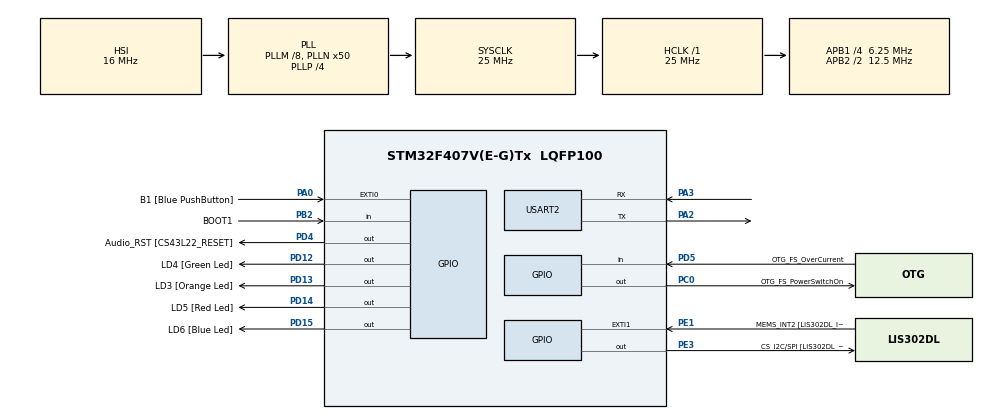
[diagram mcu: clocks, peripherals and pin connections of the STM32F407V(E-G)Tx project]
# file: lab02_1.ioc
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Mcu.Family=STM32F4
Mcu.Name=STM32F407V(E-G)Tx
Mcu.Package=LQFP100
NVIC.PriorityGroup=NVIC_PRIORITYGROUP_4
NVIC.TIM7_IRQn=true\:0\:0\:false\:false\:true\:false\:true
NVIC.TimeBase=TIM7_IRQn
NVIC.TimeBaseIP=TIM7
PA0-WKUP.GPIO_Label=B1 [Blue PushButton]
PA0-WKUP.Signal=GPXTI0
PA10.GPIO_Label=OTG_FS_ID
PA10.GPIO_Mode=GPIO_MODE_AF_PP
PA10.GPIO_PuPd=GPIO_NOPULL
PA10.GPIO_Speed=GPIO_SPEED_FREQ_LOW
PA10.Signal=USB_OTG_FS_ID
PA11.GPIO_Label=OTG_FS_DM
PA11.GPIO_Mode=GPIO_MODE_AF_PP
PA11.GPIO_PuPd=GPIO_NOPULL
PA11.GPIO_Speed=GPIO_SPEED_FREQ_LOW
PA11.Signal=USB_OTG_FS_DM
PA12.GPIO_Label=OTG_FS_DP
PA12.GPIO_Mode=GPIO_MODE_AF_PP
PA12.GPIO_PuPd=GPIO_NOPULL
PA12.GPIO_Speed=GPIO_SPEED_FREQ_LOW
PA12.Signal=USB_OTG_FS_DP
PA13.GPIO_Label=SWDIO
PA13.Mode=Serial_Wire
PA13.Signal=SYS_JTMS-SWDIO
PA14.GPIO_Label=SWCLK
PA14.Mode=Serial_Wire
PA14.Signal=SYS_JTCK-SWCLK
PA2.Mode=Asynchronous
PA2.Signal=USART2_TX
PA3.Mode=Asynchronous
PA3.Signal=USART2_RX
PA4.GPIO_Label=I2S3_WS [CS43L22_LRCK]
PA4.GPIO_Mode=GPIO_MODE_AF_PP
PA4.GPIO_PuPd=GPIO_NOPULL
PA4.GPIO_Speed=GPIO_SPEED_FREQ_LOW
PA4.Signal=I2S3_WS
PA5.GPIO_Label=SPI1_SCK [LIS302DL_SCL/SPC]
PA5.GPIO_Mode=GPIO_MODE_AF_PP
PA5.GPIO_PuPd=GPIO_NOPULL
PA5.GPIO_Speed=GPIO_SPEED_FREQ_LOW
PA5.Signal=SPI1_SCK
PA6.GPIO_Label=SPI1_MISO [LIS302DL_SDO]
PA6.GPIO_Mode=GPIO_MODE_AF_PP
PA6.GPIO_PuPd=GPIO_NOPULL
PA6.GPIO_Speed=GPIO_SPEED_FREQ_LOW
PA6.Signal=SPI1_MISO
PA7.GPIO_Label=SPI1_MOSI [LIS302DL_SDA/SDI/SDO]
PA7.GPIO_Mode=GPIO_MODE_AF_PP
PA7.GPIO_PuPd=GPIO_NOPULL
PA7.GPIO_Speed=GPIO_SPEED_FREQ_LOW
PA7.Signal=SPI1_MOSI
PA9.GPIO_Label=VBUS_FS
PA9.GPIO_Mode=GPIO_MODE_INPUT
PA9.GPIO_PuPd=GPIO_NOPULL
PA9.Signal=USB_OTG_FS_VBUS
PB10.GPIO_Label=CLK_IN [MP45DT02_CLK]
PB10.GPIO_Mode=GPIO_MODE_AF_PP
PB10.GPIO_PuPd=GPIO_NOPULL
PB10.GPIO_Speed=GPIO_SPEED_FREQ_LOW
PB10.Signal=I2S2_CK
PB2.GPIO_Label=BOOT1
PB2.GPIO_Mode=GPIO_MODE_INPUT
PB2.GPIO_PuPd=GPIO_NOPULL
PB2.Signal=GPIO_Input
PB3.GPIO_Label=SWO
PB3.Signal=SYS_JTDO-SWO
PB6.GPIO_Label=Audio_SCL [CS43L22_SCL]
PB6.GPIO_Mode=GPIO_MODE_AF_OD
PB6.GPIO_PuPd=GPIO_NOPULL
PB6.GPIO_Speed=GPIO_SPEED_FREQ_LOW
PB6.Signal=I2C1_SCL
PB9.GPIO_Label=Audio_SDA [CS43L22_SDA]
PB9.GPIO_Mode=GPIO_MODE_AF_OD
PB9.GPIO_PuPd=GPIO_NOPULL
PB9.GPIO_Speed=GPIO_SPEED_FREQ_LOW
PB9.Signal=I2C1_SDA
PC0.GPIO_Label=OTG_FS_PowerSwitchOn
PC0.GPIO_PuPd=GPIO_NOPULL
PC0.GPIO_Speed=GPIO_SPEED_FREQ_LOW
PC0.PinState=GPIO_PIN_SET
PC0.Signal=GPIO_Output
PC10.GPIO_Label=I2S3_SCK [CS43L22_SCLK]
PC10.GPIO_Mode=GPIO_MODE_AF_PP
PC10.GPIO_PuPd=GPIO_NOPULL
PC10.GPIO_Speed=GPIO_SPEED_FREQ_LOW
PC10.Signal=I2S3_CK
PC12.GPIO_Label=I2S3_SD [CS43L22_SDIN]
PC12.GPIO_Mode=GPIO_MODE_AF_PP
PC12.GPIO_PuPd=GPIO_NOPULL
PC12.GPIO_Speed=GPIO_SPEED_FREQ_LOW
PC12.Signal=I2S3_SD
PC14-OSC32_IN.GPIO_Label=PC14-OSC32_IN
PC14-OSC32_IN.Signal=RCC_OSC32_IN
PC15-OSC32_OUT.GPIO_Label=PC15-OSC32_OUT
PC15-OSC32_OUT.Signal=RCC_OSC32_OUT
PC3.GPIO_Label=PDM_OUT [MP45DT02_DOUT]
PC3.GPIO_Mode=GPIO_MODE_AF_PP
PC3.GPIO_PuPd=GPIO_NOPULL
PC3.GPIO_Speed=GPIO_SPEED_FREQ_LOW
PC3.Signal=I2S2_SD
PC7.GPIO_Label=I2S3_MCK [CS43L22_MCLK]
PC7.GPIO_Mode=GPIO_MODE_AF_PP
PC7.GPIO_PuPd=GPIO_NOPULL
PC7.GPIO_Speed=GPIO_SPEED_FREQ_LOW
PC7.Signal=I2S3_MCK
PD12.GPIO_Label=LD4 [Green Led]
PD12.GPIO_PuPd=GPIO_NOPULL
PD12.GPIO_Speed=GPIO_SPEED_FREQ_LOW
PD12.Signal=GPIO_Output
PD13.GPIO_Label=LD3 [Orange Led]
PD13.GPIO_PuPd=GPIO_NOPULL
PD13.GPIO_Speed=GPIO_SPEED_FREQ_LOW
PD13.Signal=GPIO_Output
PD14.GPIO_Label=LD5 [Red Led]
PD14.GPIO_PuPd=GPIO_NOPULL
PD14.GPIO_Speed=GPIO_SPEED_FREQ_LOW
PD14.Signal=GPIO_Output
PD15.GPIO_Label=LD6 [Blue Led]
PD15.GPIO_PuPd=GPIO_NOPULL
PD15.GPIO_Speed=GPIO_SPEED_FREQ_LOW
PD15.Signal=GPIO_Output
PD4.GPIO_Label=Audio_RST [CS43L22_RESET]
PD4.GPIO_PuPd=GPIO_NOPULL
PD4.GPIO_Speed=GPIO_SPEED_FREQ_LOW
PD4.Signal=GPIO_Output
PD5.GPIO_Label=OTG_FS_OverCurrent
PD5.GPIO_Mode=GPIO_MODE_INPUT
PD5.GPIO_PuPd=GPIO_NOPULL
PD5.Signal=GPIO_Input
PE1.GPIO_Label=MEMS_INT2 [LIS302DL_INT2]
PE1.GPIO_ModeDefaultEXTI=GPIO_MODE_EVT_RISING
PE1.GPIO_PuPd=GPIO_NOPULL
PE1.Signal=GPXTI1
PE3.GPIO_Label=CS_I2C/SPI [LIS302DL_CS_I2C/SPI]
PE3.GPIO_PuPd=GPIO_NOPULL
PE3.GPIO_Speed=GPIO_SPEED_FREQ_LOW
PE3.Signal=GPIO_Output
PH0-OSC_IN.GPIO_Label=PH0-OSC_IN
PH0-OSC_IN.Signal=RCC_OSC_IN
PH1-OSC_OUT.GPIO_Label=PH1-OSC_OUT
PH1-OSC_OUT.Signal=RCC_OSC_OUT
ProjectManager.HeapSize=0x200
ProjectManager.StackSize=0x400
ProjectManager.TargetToolchain=STM32CubeIDE
RCC.48MHZClocksFreq_Value=14285714.285714285
RCC.AHBFreq_Value=25000000
RCC.APB1CLKDivider=RCC_HCLK_DIV4
RCC.APB1Freq_Value=6250000
RCC.APB1TimFreq_Value=12500000
RCC.APB2CLKDivider=RCC_HCLK_DIV2
RCC.APB2Freq_Value=12500000
RCC.APB2TimFreq_Value=25000000
RCC.CortexFreq_Value=25000000
RCC.HCLKFreq_Value=25000000
RCC.HSE_VALUE=8000000
RCC.HSI_VALUE=16000000
RCC.LSE_VALUE=32768
RCC.PLLM=8
RCC.PLLN=50
RCC.PLLP=RCC_PLLP_DIV4
RCC.PLLQ=7
RCC.SYSCLKFreq_VALUE=25000000
RCC.SYSCLKSource=RCC_SYSCLKSOURCE_PLLCLK
RCC.VCOOutputFreq_Value=100000000
USART2.VirtualMode=VM_ASYNC
VP_SYS_VS_tim7.Mode=TIM7
board=STM32F407G-DISC1

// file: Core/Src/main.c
/* USER CODE BEGIN Header */
/**
  ******************************************************************************
  * @file           : main.c
  * @brief          : Main program body
  ******************************************************************************
  * @attention
  *
  * Copyright (c) 2022 STMicroelectronics.
  * All rights reserved.
  *
  * This software is licensed under terms that can be found in the LICENSE file
  * in the root directory of this software component.
  * If no LICENSE file comes with this software, it is provided AS-IS.
  *
  ******************************************************************************
  */
/* USER CODE END Header */
#include "main.h"
#include "stdio.h"
#include "stdlib.h"
#include "FreeRTOS.h"
#include "task.h"
#include "queue.h"

UART_HandleTypeDef huart2;

void SystemClock_Config(void);
static void MX_GPIO_Init(void);
static void MX_USART2_UART_Init(void);

/* USER CODE BEGIN 0 */
UART_HandleTypeDef huart2;
void USART_Test(void *pvParameters){
	uint32_t Monitortimer = 400;
	char MonitorTset[30];
	char num[15];
	int i = 0;
	while(1){
		memset(MonitorTset,'\0',sizeof(MonitorTset));
		memset(num,'\0',sizeof(num));
		itoa(i,num,10);
		strcat(num," ");
		sprintf(MonitorTset,"The point is %s\n\r",num);
		HAL_UART_Transmit(&huart2,(uint8_t *)MonitorTset,strlen(MonitorTset),0xffff);
		vTaskDelay(Monitortimer);
		Monitortimer += 1;
		i += 1;
	}
}
/* USER CODE END 0 */

int main(void)
{

  /* MCU Configuration--------------------------------------------------------*/

  /* Reset of all peripherals, Initializes the Flash interface and the Systick. */
  HAL_Init();

  /* Configure the system clock */
  SystemClock_Config();

  /* Initialize all configured peripherals */
  MX_GPIO_Init();
  MX_USART2_UART_Init();
  /* USER CODE BEGIN 2 */
  xTaskCreate(
		  USART_Test,
  		  "USART_Test",
  		  128,
  		  NULL,
  		  1,
		  NULL);
  vTaskStartScheduler();
  /* USER CODE END 2 */

  /* Infinite loop */
  while (1)
  {

  }
}

void SystemClock_Config(void)
{
  RCC_OscInitTypeDef RCC_OscInitStruct = {0};
  RCC_ClkInitTypeDef RCC_ClkInitStruct = {0};

  /** Configure the main internal regulator output voltage
  */
  __HAL_RCC_PWR_CLK_ENABLE();
  __HAL_PWR_VOLTAGESCALING_CONFIG(PWR_REGULATOR_VOLTAGE_SCALE1);
  /** Initializes the RCC Oscillators according to the specified parameters
  * in the RCC_OscInitTypeDef structure.
  */
  RCC_OscInitStruct.OscillatorType = RCC_OSCILLATORTYPE_HSI;
  RCC_OscInitStruct.HSIState = RCC_HSI_ON;
  RCC_OscInitStruct.HSICalibrationValue = RCC_HSICALIBRATION_DEFAULT;
  RCC_OscInitStruct.PLL.PLLState = RCC_PLL_ON;
  RCC_OscInitStruct.PLL.PLLSource = RCC_PLLSOURCE_HSI;
  RCC_OscInitStruct.PLL.PLLM = 8;
  RCC_OscInitStruct.PLL.PLLN = 50;
  RCC_OscInitStruct.PLL.PLLP = RCC_PLLP_DIV4;
  RCC_OscInitStruct.PLL.PLLQ = 7;
  if (HAL_RCC_OscConfig(&RCC_OscInitStruct) != HAL_OK)
  {
    Error_Handler();
  }
  /** Initializes the CPU, AHB and APB buses clocks
  */
  RCC_ClkInitStruct.ClockType = RCC_CLOCKTYPE_HCLK|RCC_CLOCKTYPE_SYSCLK
                              |RCC_CLOCKTYPE_PCLK1|RCC_CLOCKTYPE_PCLK2;
  RCC_ClkInitStruct.SYSCLKSource = RCC_SYSCLKSOURCE_PLLCLK;
  RCC_ClkInitStruct.AHBCLKDivider = RCC_SYSCLK_DIV1;
  RCC_ClkInitStruct.APB1CLKDivider = RCC_HCLK_DIV4;
  RCC_ClkInitStruct.APB2CLKDivider = RCC_HCLK_DIV2;

  if (HAL_RCC_ClockConfig(&RCC_ClkInitStruct, FLASH_LATENCY_0) != HAL_OK)
  {
    Error_Handler();
  }
}

static void MX_USART2_UART_Init(void)
{

  huart2.Instance = USART2;
  huart2.Init.BaudRate = 115200;
  huart2.Init.WordLength = UART_WORDLENGTH_8B;
  huart2.Init.StopBits = UART_STOPBITS_1;
  huart2.Init.Parity = UART_PARITY_NONE;
  huart2.Init.Mode = UART_MODE_TX_RX;
  huart2.Init.HwFlowCtl = UART_HWCONTROL_NONE;
  huart2.Init.OverSampling = UART_OVERSAMPLING_16;
  if (HAL_UART_Init(&huart2) != HAL_OK)
  {
    Error_Handler();
  }

}

static void MX_GPIO_Init(void)
{
  GPIO_InitTypeDef GPIO_InitStruct = {0};

  /* GPIO Ports Clock Enable */
  __HAL_RCC_GPIOE_CLK_ENABLE();
  __HAL_RCC_GPIOC_CLK_ENABLE();
  __HAL_RCC_GPIOH_CLK_ENABLE();
  __HAL_RCC_GPIOA_CLK_ENABLE();
  __HAL_RCC_GPIOB_CLK_ENABLE();
  __HAL_RCC_GPIOD_CLK_ENABLE();

  /*Configure GPIO pin Output Level */
  HAL_GPIO_WritePin(CS_I2C_SPI_GPIO_Port, CS_I2C_SPI_Pin, GPIO_PIN_RESET);

  /*Configure GPIO pin Output Level */
  HAL_GPIO_WritePin(OTG_FS_PowerSwitchOn_GPIO_Port, OTG_FS_PowerSwitchOn_Pin, GPIO_PIN_SET);

  /*Configure GPIO pin Output Level */
  HAL_GPIO_WritePin(GPIOD, LD4_Pin|LD3_Pin|LD5_Pin|LD6_Pin
                          |Audio_RST_Pin, GPIO_PIN_RESET);

  /*Configure GPIO pin : CS_I2C_SPI_Pin */
  GPIO_InitStruct.Pin = CS_I2C_SPI_Pin;
  GPIO_InitStruct.Mode = GPIO_MODE_OUTPUT_PP;
  GPIO_InitStruct.Pull = GPIO_NOPULL;
  GPIO_InitStruct.Speed = GPIO_SPEED_FREQ_LOW;
  HAL_GPIO_Init(CS_I2C_SPI_GPIO_Port, &GPIO_InitStruct);

  /*Configure GPIO pin : OTG_FS_PowerSwitchOn_Pin */
  GPIO_InitStruct.Pin = OTG_FS_PowerSwitchOn_Pin;
  GPIO_InitStruct.Mode = GPIO_MODE_OUTPUT_PP;
  GPIO_InitStruct.Pull = GPIO_NOPULL;
  GPIO_InitStruct.Speed = GPIO_SPEED_FREQ_LOW;
  HAL_GPIO_Init(OTG_FS_PowerSwitchOn_GPIO_Port, &GPIO_InitStruct);

  /*Configure GPIO pin : PDM_OUT_Pin */
  GPIO_InitStruct.Pin = PDM_OUT_Pin;
  GPIO_InitStruct.Mode = GPIO_MODE_AF_PP;
  GPIO_InitStruct.Pull = GPIO_NOPULL;
  GPIO_InitStruct.Speed = GPIO_SPEED_FREQ_LOW;
  GPIO_InitStruct.Alternate = GPIO_AF5_SPI2;
  HAL_GPIO_Init(PDM_OUT_GPIO_Port, &GPIO_InitStruct);

  /*Configure GPIO pin : B1_Pin */
  GPIO_InitStruct.Pin = B1_Pin;
  GPIO_InitStruct.Mode = GPIO_MODE_IT_RISING;
  GPIO_InitStruct.Pull = GPIO_NOPULL;
  HAL_GPIO_Init(B1_GPIO_Port, &GPIO_InitStruct);

  /*Configure GPIO pin : I2S3_WS_Pin */
  GPIO_InitStruct.Pin = I2S3_WS_Pin;
  GPIO_InitStruct.Mode = GPIO_MODE_AF_PP;
  GPIO_InitStruct.Pull = GPIO_NOPULL;
  GPIO_InitStruct.Speed = GPIO_SPEED_FREQ_LOW;
  GPIO_InitStruct.Alternate = GPIO_AF6_SPI3;
  HAL_GPIO_Init(I2S3_WS_GPIO_Port, &GPIO_InitStruct);

  /*Configure GPIO pins : SPI1_SCK_Pin SPI1_MISO_Pin SPI1_MOSI_Pin */
  GPIO_InitStruct.Pin = SPI1_SCK_Pin|SPI1_MISO_Pin|SPI1_MOSI_Pin;
  GPIO_InitStruct.Mode = GPIO_MODE_AF_PP;
  GPIO_InitStruct.Pull = GPIO_NOPULL;
  GPIO_InitStruct.Speed = GPIO_SPEED_FREQ_LOW;
  GPIO_InitStruct.Alternate = GPIO_AF5_SPI1;
  HAL_GPIO_Init(GPIOA, &GPIO_InitStruct);

  /*Configure GPIO pin : BOOT1_Pin */
  GPIO_InitStruct.Pin = BOOT1_Pin;
  GPIO_InitStruct.Mode = GPIO_MODE_INPUT;
  GPIO_InitStruct.Pull = GPIO_NOPULL;
  HAL_GPIO_Init(BOOT1_GPIO_Port, &GPIO_InitStruct);

  /*Configure GPIO pin : CLK_IN_Pin */
  GPIO_InitStruct.Pin = CLK_IN_Pin;
  GPIO_InitStruct.Mode = GPIO_MODE_AF_PP;
  GPIO_InitStruct.Pull = GPIO_NOPULL;
  GPIO_InitStruct.Speed = GPIO_SPEED_FREQ_LOW;
  GPIO_InitStruct.Alternate = GPIO_AF5_SPI2;
  HAL_GPIO_Init(CLK_IN_GPIO_Port, &GPIO_InitStruct);

  /*Configure GPIO pins : LD4_Pin LD3_Pin LD5_Pin LD6_Pin
                           Audio_RST_Pin */
  GPIO_InitStruct.Pin = LD4_Pin|LD3_Pin|LD5_Pin|LD6_Pin
                          |Audio_RST_Pin;
  GPIO_InitStruct.Mode = GPIO_MODE_OUTPUT_PP;
  GPIO_InitStruct.Pull = GPIO_NOPULL;
  GPIO_InitStruct.Speed = GPIO_SPEED_FREQ_LOW;
  HAL_GPIO_Init(GPIOD, &GPIO_InitStruct);

  /*Configure GPIO pins : I2S3_MCK_Pin I2S3_SCK_Pin I2S3_SD_Pin */
  GPIO_InitStruct.Pin = I2S3_MCK_Pin|I2S3_SCK_Pin|I2S3_SD_Pin;
  GPIO_InitStruct.Mode = GPIO_MODE_AF_PP;
  GPIO_InitStruct.Pull = GPIO_NOPULL;
  GPIO_InitStruct.Speed = GPIO_SPEED_FREQ_LOW;
  GPIO_InitStruct.Alternate = GPIO_AF6_SPI3;
  HAL_GPIO_Init(GPIOC, &GPIO_InitStruct);

  /*Configure GPIO pin : VBUS_FS_Pin */
  GPIO_InitStruct.Pin = VBUS_FS_Pin;
  GPIO_InitStruct.Mode = GPIO_MODE_INPUT;
  GPIO_InitStruct.Pull = GPIO_NOPULL;
  HAL_GPIO_Init(VBUS_FS_GPIO_Port, &GPIO_InitStruct);

  /*Configure GPIO pins : OTG_FS_ID_Pin OTG_FS_DM_Pin OTG_FS_DP_Pin */
  GPIO_InitStruct.Pin = OTG_FS_ID_Pin|OTG_FS_DM_Pin|OTG_FS_DP_Pin;
  GPIO_InitStruct.Mode = GPIO_MODE_AF_PP;
  GPIO_InitStruct.Pull = GPIO_NOPULL;
  GPIO_InitStruct.Speed = GPIO_SPEED_FREQ_LOW;
  GPIO_InitStruct.Alternate = GPIO_AF10_OTG_FS;
  HAL_GPIO_Init(GPIOA, &GPIO_InitStruct);

  /*Configure GPIO pin : OTG_FS_OverCurrent_Pin */
  GPIO_InitStruct.Pin = OTG_FS_OverCurrent_Pin;
  GPIO_InitStruct.Mode = GPIO_MODE_INPUT;
  GPIO_InitStruct.Pull = GPIO_NOPULL;
  HAL_GPIO_Init(OTG_FS_OverCurrent_GPIO_Port, &GPIO_InitStruct);

  /*Configure GPIO pins : Audio_SCL_Pin Audio_SDA_Pin */
  GPIO_InitStruct.Pin = Audio_SCL_Pin|Audio_SDA_Pin;
  GPIO_InitStruct.Mode = GPIO_MODE_AF_OD;
  GPIO_InitStruct.Pull = GPIO_NOPULL;
  GPIO_InitStruct.Speed = GPIO_SPEED_FREQ_LOW;
  GPIO_InitStruct.Alternate = GPIO_AF4_I2C1;
  HAL_GPIO_Init(GPIOB, &GPIO_InitStruct);

  /*Configure GPIO pin : MEMS_INT2_Pin */
  GPIO_InitStruct.Pin = MEMS_INT2_Pin;
  GPIO_InitStruct.Mode = GPIO_MODE_EVT_RISING;
  GPIO_InitStruct.Pull = GPIO_NOPULL;
  HAL_GPIO_Init(MEMS_INT2_GPIO_Port, &GPIO_InitStruct);

}

void HAL_TIM_PeriodElapsedCallback(TIM_HandleTypeDef *htim)
{
  if (htim->Instance == TIM7) {
    HAL_IncTick();
  }
}

void Error_Handler(void)
{
  __disable_irq();
  while (1)
  {
  }
}
